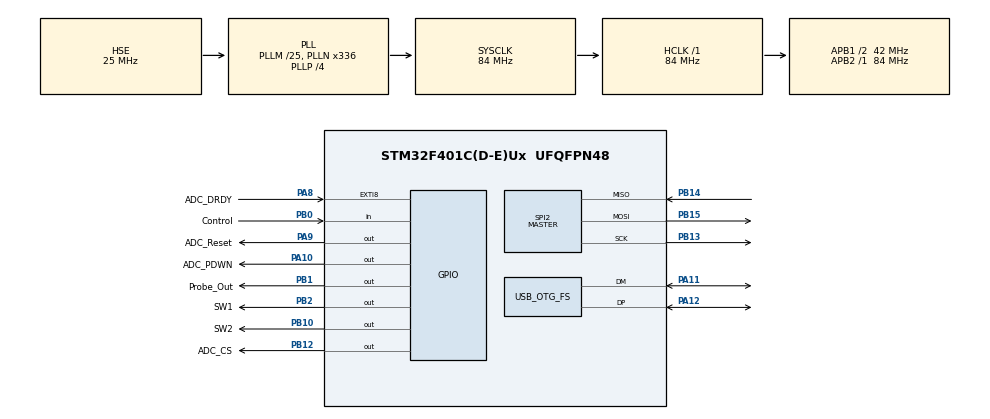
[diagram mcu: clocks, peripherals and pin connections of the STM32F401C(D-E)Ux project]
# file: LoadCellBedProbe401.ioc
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Dma.Request0=SPI2_RX
Dma.Request1=SPI2_TX
Dma.SPI2_RX.0.Direction=DMA_PERIPH_TO_MEMORY
Dma.SPI2_RX.0.FIFOMode=DMA_FIFOMODE_DISABLE
Dma.SPI2_RX.0.Instance=DMA1_Stream3
Dma.SPI2_RX.0.MemDataAlignment=DMA_MDATAALIGN_BYTE
Dma.SPI2_RX.0.MemInc=DMA_MINC_ENABLE
Dma.SPI2_RX.0.Mode=DMA_NORMAL
Dma.SPI2_RX.0.PeriphDataAlignment=DMA_PDATAALIGN_BYTE
Dma.SPI2_RX.0.PeriphInc=DMA_PINC_DISABLE
Dma.SPI2_RX.0.Priority=DMA_PRIORITY_HIGH
Dma.SPI2_TX.1.Direction=DMA_MEMORY_TO_PERIPH
Dma.SPI2_TX.1.FIFOMode=DMA_FIFOMODE_DISABLE
Dma.SPI2_TX.1.Instance=DMA1_Stream4
Dma.SPI2_TX.1.MemDataAlignment=DMA_MDATAALIGN_BYTE
Dma.SPI2_TX.1.MemInc=DMA_MINC_ENABLE
Dma.SPI2_TX.1.Mode=DMA_NORMAL
Dma.SPI2_TX.1.PeriphDataAlignment=DMA_PDATAALIGN_BYTE
Dma.SPI2_TX.1.PeriphInc=DMA_PINC_DISABLE
Dma.SPI2_TX.1.Priority=DMA_PRIORITY_HIGH
IWDG.Reload=2000
Mcu.Family=STM32F4
Mcu.Name=STM32F401C(D-E)Ux
Mcu.Package=UFQFPN48
NVIC.DMA1_Stream3_IRQn=true\:3\:0\:true\:false\:true\:true\:true\:true
NVIC.DMA1_Stream4_IRQn=true\:2\:0\:true\:false\:true\:true\:true\:true
NVIC.EXTI9_5_IRQn=true\:1\:0\:true\:false\:true\:true\:true\:true
NVIC.OTG_FS_IRQn=true\:10\:0\:true\:false\:true\:false\:true\:true
NVIC.PriorityGroup=NVIC_PRIORITYGROUP_4
PA10.GPIO_Label=ADC_PDWN
PA10.Signal=GPIO_Output
PA11.Mode=Device_Only
PA11.Signal=USB_OTG_FS_DM
PA12.Mode=Device_Only
PA12.Signal=USB_OTG_FS_DP
PA13.Mode=Trace_Asynchronous_SW
PA13.Signal=SYS_JTMS-SWDIO
PA14.Mode=Trace_Asynchronous_SW
PA14.Signal=SYS_JTCK-SWCLK
PA8.GPIO_Label=ADC_DRDY
PA8.GPIO_ModeDefaultEXTI=GPIO_MODE_IT_FALLING
PA8.Signal=GPXTI8
PA9.GPIO_Label=ADC_Reset
PA9.Signal=GPIO_Output
PB0.GPIO_Label=Control
PB0.GPIO_PuPd=GPIO_PULLDOWN
PB0.Signal=GPIO_Input
PB1.GPIO_Label=Probe_Out
PB1.GPIO_Speed=GPIO_SPEED_FREQ_HIGH
PB1.Signal=GPIO_Output
PB10.GPIO_Label=SW2
PB10.GPIO_Speed=GPIO_SPEED_FREQ_MEDIUM
PB10.Signal=GPIO_Output
PB12.GPIO_Label=ADC_CS
PB12.GPIO_Speed=GPIO_SPEED_FREQ_MEDIUM
PB12.PinState=GPIO_PIN_SET
PB12.Signal=GPIO_Output
PB13.Mode=Full_Duplex_Master
PB13.Signal=SPI2_SCK
PB14.Mode=Full_Duplex_Master
PB14.Signal=SPI2_MISO
PB15.Mode=Full_Duplex_Master
PB15.Signal=SPI2_MOSI
PB2.GPIO_Label=SW1
PB2.GPIO_Speed=GPIO_SPEED_FREQ_MEDIUM
PB2.PinState=GPIO_PIN_SET
PB2.Signal=GPIO_Output
PB3.Mode=Trace_Asynchronous_SW
PB3.Signal=SYS_JTDO-SWO
PC14-OSC32_IN.Mode=LSE-External-Oscillator
PC14-OSC32_IN.Signal=RCC_OSC32_IN
PC15-OSC32_OUT.Mode=LSE-External-Oscillator
PC15-OSC32_OUT.Signal=RCC_OSC32_OUT
PH0\ -\ OSC_IN.Mode=HSE-External-Oscillator
PH0\ -\ OSC_IN.Signal=RCC_OSC_IN
PH1\ -\ OSC_OUT.Mode=HSE-External-Oscillator
PH1\ -\ OSC_OUT.Signal=RCC_OSC_OUT
ProjectManager.HeapSize=0x800
ProjectManager.StackSize=0x400
ProjectManager.TargetToolchain=STM32CubeIDE
RCC.48MHZClocksFreq_Value=48000000
RCC.AHBFreq_Value=84000000
RCC.APB1CLKDivider=RCC_HCLK_DIV2
RCC.APB1Freq_Value=42000000
RCC.APB1TimFreq_Value=84000000
RCC.APB2Freq_Value=84000000
RCC.APB2TimFreq_Value=84000000
RCC.CortexFreq_Value=84000000
RCC.HCLKFreq_Value=84000000
RCC.HSE_VALUE=25000000
RCC.HSI_VALUE=16000000
RCC.PLLM=25
RCC.PLLN=336
RCC.PLLP=RCC_PLLP_DIV4
RCC.PLLQ=7
RCC.RCC_RTC_Clock_Source=RCC_RTCCLKSOURCE_LSE
RCC.RCC_RTC_Clock_SourceVirtual=RCC_RTCCLKSOURCE_LSE
RCC.SYSCLKFreq_VALUE=84000000
RCC.SYSCLKSource=RCC_SYSCLKSOURCE_PLLCLK
RCC.VCOOutputFreq_Value=336000000
SPI2.BaudRatePrescaler=SPI_BAUDRATEPRESCALER_32
SPI2.CLKPhase=SPI_PHASE_2EDGE
SPI2.Direction=SPI_DIRECTION_2LINES
SPI2.Mode=SPI_MODE_MASTER
SPI2.VirtualType=VM_MASTER
TIM2.ClockDivision=TIM_CLOCKDIVISION_DIV4
TIM2.Prescaler=21000
TIM3.ClockDivision=TIM_CLOCKDIVISION_DIV4
TIM3.Prescaler=21
USB_DEVICE.CLASS_NAME_FS=CDC
USB_DEVICE.VirtualMode-CDC_FS=Cdc
USB_DEVICE.VirtualModeFS=Cdc_FS
USB_OTG_FS.VirtualMode=Device_Only
VP_IWDG_VS_IWDG.Mode=IWDG_Activate
VP_RTC_VS_RTC_Activate.Mode=RTC_Enabled
VP_TIM2_VS_ClockSourceINT.Mode=Internal
VP_TIM3_VS_ClockSourceINT.Mode=Internal
VP_USB_DEVICE_VS_USB_DEVICE_CDC_FS.Mode=CDC_FS
board=custom

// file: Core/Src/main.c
/* USER CODE BEGIN Header */
/**
  ******************************************************************************
  * @file           : main.c
  * @brief          : Main program body
  ******************************************************************************
  * @attention
  *
  * Copyright (c) 2023 STMicroelectronics.
  * All rights reserved.
  *
  * This software is licensed under terms that can be found in the LICENSE file
  * in the root directory of this software component.
  * If no LICENSE file comes with this software, it is provided AS-IS.
  *
  ******************************************************************************
  */
/* USER CODE END Header */
#include "main.h"
#include "usb_device.h"

/* USER CODE BEGIN Includes */
#include "arm_math.h"
#include "usbd_cdc_if.h"
/* USER CODE END Includes */

/* USER CODE BEGIN PV */
arm_biquad_cascade_df2T_instance_f32 * iir_inst = {0};

uint8_t SpiDmaRxBuf[8];
uint8_t SpiDmaTxBuf[8];
const uint8_t emptybuf[4]= { 0, 0, 0, 0 };

const char __attribute__ ((aligned(4))) watchdog_message[] =
		"*********************\n"
		"Watchdog Reset!!!!!!!\n"
		"Watchdog Reset!!!!!!!\n"
		"Watchdog Reset!!!!!!!\n"
		"*********************\n";

static const char ThisFileName[] = "main.c";
/* USER CODE END PV */

void SystemClock_Config(void);
static void MX_GPIO_Init(void);
static void MX_DMA_Init(void);
static void MX_IWDG_Init(void);
static void MX_SPI2_Init(void);
static void MX_TIM2_Init(void);
static void MX_RTC_Init(void);
static void MX_TIM3_Init(void);

int main(void)
{
  /* USER CODE BEGIN 1 */

	float32_t iir_coeffs[5 * IIR_NUMSTAGES] = IIR_COEFFS;
	float32_t iir_state[4 * IIR_NUMSTAGES];

	//uint8_t MA_buffer_sent = 1;
	LC_ModeTypeDef lc_mode = LC_IDLE;
	uint8_t DummyBuffer[8];

  /* USER CODE END 1 */

  /* MCU Configuration--------------------------------------------------------*/

  /* Reset of all peripherals, Initializes the Flash interface and the Systick. */
  HAL_Init();

  /* Configure the system clock */
  SystemClock_Config();

  /* USER CODE BEGIN SysInit */

   // Configure both watchdog timers to be halted if the CPU is halted by the debugger
   //
   //*((volatile int *)(0xE0042008)) |= (1 << 11) | (1 << 12);
   __HAL_DBGMCU_FREEZE_IWDG();

  /* USER CODE END SysInit */

  /* Initialize all configured peripherals */
  MX_GPIO_Init();
  MX_DMA_Init();
  MX_IWDG_Init();
  MX_SPI2_Init();
  MX_TIM2_Init();
  MX_RTC_Init();
  MX_TIM3_Init();
  MX_USB_DEVICE_Init();
  /* USER CODE BEGIN 2 */

  //check for IWDG flag:
  if (__HAL_RCC_GET_FLAG(RCC_FLAG_IWDGRST)){
	  CDC_Transmit_FS((uint8_t *)watchdog_message, sizeof(watchdog_message));
	  __HAL_RCC_CLEAR_RESET_FLAGS();
  }

  	// set ADC SPI CS
	LL_GPIO_SetOutputPin(ADC_CS_GPIO_Port, ADC_CS_Pin);
	// Set probe output
	LL_GPIO_SetOutputPin(Probe_Out_GPIO_Port, Probe_Out_Pin);

	//SW GPIOs
	LL_GPIO_ResetOutputPin(SW1_GPIO_Port, SW1_Pin);
	LL_GPIO_ResetOutputPin(SW2_GPIO_Port, SW2_Pin);

	/* Configure SPI1 DMA transfer interrupts */
	/* Enable DMA RX Interrupt */
	LL_SPI_EnableDMAReq_RX(SPI2);
	/* Enable DMA TX Interrupt */
	LL_SPI_EnableDMAReq_TX(SPI2);

	LL_DMA_ConfigAddresses(DMA1, LL_DMA_STREAM_3, LL_SPI_DMA_GetRegAddr(SPI2),
						  (uint32_t)SpiDmaRxBuf, LL_DMA_GetDataTransferDirection(DMA1, LL_DMA_STREAM_3)); //RX
	LL_DMA_ConfigAddresses(DMA1, LL_DMA_STREAM_4, (uint32_t)SpiDmaTxBuf,
						  LL_SPI_DMA_GetRegAddr(SPI2), LL_DMA_GetDataTransferDirection(DMA1, LL_DMA_STREAM_4));  //TX

	LL_DMA_SetDataLength(DMA1, LL_DMA_STREAM_3, 3);
	LL_DMA_SetDataLength(DMA1, LL_DMA_STREAM_4, 3);

	/* (5) Enable DMA interrupts complete/error */
	LL_DMA_EnableIT_TC(DMA1, LL_DMA_STREAM_3);
	LL_DMA_EnableIT_TE(DMA1, LL_DMA_STREAM_3);
	LL_DMA_EnableIT_TC(DMA1, LL_DMA_STREAM_4);
	LL_DMA_EnableIT_TE(DMA1, LL_DMA_STREAM_4);

	//HAL_TIM_Base_Start(&htim2);
	//HAL_TIM_Base_Start(&htim3);

	LL_TIM_EnableCounter(TIM2);
	LL_TIM_EnableCounter(TIM3);

	arm_biquad_cascade_df2T_init_f32(iir_inst, (uint8_t)IIR_NUMSTAGES, iir_coeffs, iir_state);

	//__HAL_TIM_SET_COUNTER(&htim2,0);
	LL_TIM_SetCounter(TIM2, 0);

	//Disable DMA and EXTI IRqs for idle mode
	NVIC_DisableIRQ(DMA1_Stream3_IRQn);
	NVIC_DisableIRQ(DMA1_Stream4_IRQn);
	NVIC_DisableIRQ(EXTI15_10_IRQn);

	void lc_send_greeting(void);

	LL_IWDG_ReloadCounter(IWDG);

	if (ads1256_init() != ADS1256_OK) {
		lc_Error_Handler( ThisFileName, sizeof(ThisFileName), __LINE__);
	}

  /* USER CODE END 2 */

  /* Infinite loop */
  /* USER CODE BEGIN WHILE */
  while (1)
  {
	  LL_IWDG_ReloadCounter(IWDG);

	  switch( lc_mode ){
	  case LC_IDLE:
		  if ( LL_GPIO_IsInputPinSet(Control_GPIO_Port, Control_Pin) ) {
			  lc_mode = LC_PREPARE;
			  break;
		  }
		  // Time to run the idle task?
		  if ( (LL_TIM_GetCounter(TIM2)) > LC_IDLE_PERIOD ) {
			  LL_TIM_SetCounter(TIM2, 0);
			  lc_do_lc_idle();
		  }
		  CDC_Transmit_FS(DummyBuffer, 0);
		  break;
	  case LC_PREPARE:
		  lc_do_lc_prepare();
		  CDC_Transmit_FS(DummyBuffer, 0);
		  break;
	  case LC_RUNNING:
		  lc_do_lc_running();
		  CDC_Transmit_FS(DummyBuffer, 0);
		  if ( !LL_GPIO_IsInputPinSet(Control_GPIO_Port, Control_Pin) ) {
					  lc_mode = LC_STOPPING;
		  }
		  break;
	  case LC_STOPPING:
		  lc_do_lc_stopping();
		  CDC_Transmit_FS(DummyBuffer, 0);
		  lc_mode = LC_IDLE;
		  break;
	  default:
		  lc_Error_Handler( ThisFileName, sizeof(ThisFileName), __LINE__);
	  }
    /* USER CODE END WHILE */

  }
}

void SystemClock_Config(void)
{
  RCC_OscInitTypeDef RCC_OscInitStruct = {0};
  RCC_ClkInitTypeDef RCC_ClkInitStruct = {0};

  /** Configure the main internal regulator output voltage
  */
  __HAL_RCC_PWR_CLK_ENABLE();
  __HAL_PWR_VOLTAGESCALING_CONFIG(PWR_REGULATOR_VOLTAGE_SCALE2);

  /** Initializes the RCC Oscillators according to the specified parameters
  * in the RCC_OscInitTypeDef structure.
  */
  RCC_OscInitStruct.OscillatorType = RCC_OSCILLATORTYPE_LSI|RCC_OSCILLATORTYPE_HSE
                              |RCC_OSCILLATORTYPE_LSE;
  RCC_OscInitStruct.HSEState = RCC_HSE_ON;
  RCC_OscInitStruct.LSEState = RCC_LSE_ON;
  RCC_OscInitStruct.LSIState = RCC_LSI_ON;
  RCC_OscInitStruct.PLL.PLLState = RCC_PLL_ON;
  RCC_OscInitStruct.PLL.PLLSource = RCC_PLLSOURCE_HSE;
  RCC_OscInitStruct.PLL.PLLM = 25;
  RCC_OscInitStruct.PLL.PLLN = 336;
  RCC_OscInitStruct.PLL.PLLP = RCC_PLLP_DIV4;
  RCC_OscInitStruct.PLL.PLLQ = 7;
  if (HAL_RCC_OscConfig(&RCC_OscInitStruct) != HAL_OK)
  {
    Error_Handler();
  }

  /** Initializes the CPU, AHB and APB buses clocks
  */
  RCC_ClkInitStruct.ClockType = RCC_CLOCKTYPE_HCLK|RCC_CLOCKTYPE_SYSCLK
                              |RCC_CLOCKTYPE_PCLK1|RCC_CLOCKTYPE_PCLK2;
  RCC_ClkInitStruct.SYSCLKSource = RCC_SYSCLKSOURCE_PLLCLK;
  RCC_ClkInitStruct.AHBCLKDivider = RCC_SYSCLK_DIV1;
  RCC_ClkInitStruct.APB1CLKDivider = RCC_HCLK_DIV2;
  RCC_ClkInitStruct.APB2CLKDivider = RCC_HCLK_DIV1;

  if (HAL_RCC_ClockConfig(&RCC_ClkInitStruct, FLASH_LATENCY_2) != HAL_OK)
  {
    Error_Handler();
  }
}

static void MX_IWDG_Init(void)
{

  LL_IWDG_Enable(IWDG);
  LL_IWDG_EnableWriteAccess(IWDG);
  LL_IWDG_SetPrescaler(IWDG, LL_IWDG_PRESCALER_4);
  LL_IWDG_SetReloadCounter(IWDG, 2000);
  while (LL_IWDG_IsReady(IWDG) != 1)
  {
  }

  LL_IWDG_ReloadCounter(IWDG);

}

static void MX_RTC_Init(void)
{

  LL_RTC_InitTypeDef RTC_InitStruct = {0};

  RCC_PeriphCLKInitTypeDef PeriphClkInitStruct = {0};

  /** Initializes the peripherals clock
  */
  PeriphClkInitStruct.PeriphClockSelection = RCC_PERIPHCLK_RTC;
  PeriphClkInitStruct.RTCClockSelection = RCC_RTCCLKSOURCE_LSE;
  if (HAL_RCCEx_PeriphCLKConfig(&PeriphClkInitStruct) != HAL_OK)
  {
    Error_Handler();
  }

  /* Peripheral clock enable */
  LL_RCC_EnableRTC();

  /** Initialize RTC and set the Time and Date
  */
  RTC_InitStruct.HourFormat = LL_RTC_HOURFORMAT_24HOUR;
  RTC_InitStruct.AsynchPrescaler = 127;
  RTC_InitStruct.SynchPrescaler = 255;
  LL_RTC_Init(RTC, &RTC_InitStruct);
  LL_RTC_SetAsynchPrescaler(RTC, 127);
  LL_RTC_SetSynchPrescaler(RTC, 255);

}

static void MX_SPI2_Init(void)
{

  LL_SPI_InitTypeDef SPI_InitStruct = {0};

  LL_GPIO_InitTypeDef GPIO_InitStruct = {0};

  /* Peripheral clock enable */
  LL_APB1_GRP1_EnableClock(LL_APB1_GRP1_PERIPH_SPI2);

  LL_AHB1_GRP1_EnableClock(LL_AHB1_GRP1_PERIPH_GPIOB);
  /**SPI2 GPIO Configuration
  PB13   ------> SPI2_SCK
  PB14   ------> SPI2_MISO
  PB15   ------> SPI2_MOSI
  */
  GPIO_InitStruct.Pin = LL_GPIO_PIN_13|LL_GPIO_PIN_14|LL_GPIO_PIN_15;
  GPIO_InitStruct.Mode = LL_GPIO_MODE_ALTERNATE;
  GPIO_InitStruct.Speed = LL_GPIO_SPEED_FREQ_VERY_HIGH;
  GPIO_InitStruct.OutputType = LL_GPIO_OUTPUT_PUSHPULL;
  GPIO_InitStruct.Pull = LL_GPIO_PULL_NO;
  GPIO_InitStruct.Alternate = LL_GPIO_AF_5;
  LL_GPIO_Init(GPIOB, &GPIO_InitStruct);

  /* SPI2 DMA Init */

  /* SPI2_RX Init */
  LL_DMA_SetChannelSelection(DMA1, LL_DMA_STREAM_3, LL_DMA_CHANNEL_0);

  LL_DMA_SetDataTransferDirection(DMA1, LL_DMA_STREAM_3, LL_DMA_DIRECTION_PERIPH_TO_MEMORY);

  LL_DMA_SetStreamPriorityLevel(DMA1, LL_DMA_STREAM_3, LL_DMA_PRIORITY_HIGH);

  LL_DMA_SetMode(DMA1, LL_DMA_STREAM_3, LL_DMA_MODE_NORMAL);

  LL_DMA_SetPeriphIncMode(DMA1, LL_DMA_STREAM_3, LL_DMA_PERIPH_NOINCREMENT);

  LL_DMA_SetMemoryIncMode(DMA1, LL_DMA_STREAM_3, LL_DMA_MEMORY_INCREMENT);

  LL_DMA_SetPeriphSize(DMA1, LL_DMA_STREAM_3, LL_DMA_PDATAALIGN_BYTE);

  LL_DMA_SetMemorySize(DMA1, LL_DMA_STREAM_3, LL_DMA_MDATAALIGN_BYTE);

  LL_DMA_DisableFifoMode(DMA1, LL_DMA_STREAM_3);

  /* SPI2_TX Init */
  LL_DMA_SetChannelSelection(DMA1, LL_DMA_STREAM_4, LL_DMA_CHANNEL_0);

  LL_DMA_SetDataTransferDirection(DMA1, LL_DMA_STREAM_4, LL_DMA_DIRECTION_MEMORY_TO_PERIPH);

  LL_DMA_SetStreamPriorityLevel(DMA1, LL_DMA_STREAM_4, LL_DMA_PRIORITY_HIGH);

  LL_DMA_SetMode(DMA1, LL_DMA_STREAM_4, LL_DMA_MODE_NORMAL);

  LL_DMA_SetPeriphIncMode(DMA1, LL_DMA_STREAM_4, LL_DMA_PERIPH_NOINCREMENT);

  LL_DMA_SetMemoryIncMode(DMA1, LL_DMA_STREAM_4, LL_DMA_MEMORY_INCREMENT);

  LL_DMA_SetPeriphSize(DMA1, LL_DMA_STREAM_4, LL_DMA_PDATAALIGN_BYTE);

  LL_DMA_SetMemorySize(DMA1, LL_DMA_STREAM_4, LL_DMA_MDATAALIGN_BYTE);

  LL_DMA_DisableFifoMode(DMA1, LL_DMA_STREAM_4);

  /* SPI2 parameter configuration*/
  SPI_InitStruct.TransferDirection = LL_SPI_FULL_DUPLEX;
  SPI_InitStruct.Mode = LL_SPI_MODE_MASTER;
  SPI_InitStruct.DataWidth = LL_SPI_DATAWIDTH_8BIT;
  SPI_InitStruct.ClockPolarity = LL_SPI_POLARITY_LOW;
  SPI_InitStruct.ClockPhase = LL_SPI_PHASE_2EDGE;
  SPI_InitStruct.NSS = LL_SPI_NSS_SOFT;
  SPI_InitStruct.BaudRate = LL_SPI_BAUDRATEPRESCALER_DIV32;
  SPI_InitStruct.BitOrder = LL_SPI_MSB_FIRST;
  SPI_InitStruct.CRCCalculation = LL_SPI_CRCCALCULATION_DISABLE;
  SPI_InitStruct.CRCPoly = 10;
  LL_SPI_Init(SPI2, &SPI_InitStruct);
  LL_SPI_SetStandard(SPI2, LL_SPI_PROTOCOL_MOTOROLA);

}

static void MX_TIM2_Init(void)
{

  LL_TIM_InitTypeDef TIM_InitStruct = {0};

  /* Peripheral clock enable */
  LL_APB1_GRP1_EnableClock(LL_APB1_GRP1_PERIPH_TIM2);

  TIM_InitStruct.Prescaler = 21000;
  TIM_InitStruct.CounterMode = LL_TIM_COUNTERMODE_UP;
  TIM_InitStruct.Autoreload = 4294967295;
  TIM_InitStruct.ClockDivision = LL_TIM_CLOCKDIVISION_DIV4;
  LL_TIM_Init(TIM2, &TIM_InitStruct);
  LL_TIM_DisableARRPreload(TIM2);
  LL_TIM_SetClockSource(TIM2, LL_TIM_CLOCKSOURCE_INTERNAL);
  LL_TIM_SetTriggerOutput(TIM2, LL_TIM_TRGO_RESET);
  LL_TIM_DisableMasterSlaveMode(TIM2);

}

static void MX_TIM3_Init(void)
{

  LL_TIM_InitTypeDef TIM_InitStruct = {0};

  /* Peripheral clock enable */
  LL_APB1_GRP1_EnableClock(LL_APB1_GRP1_PERIPH_TIM3);

  TIM_InitStruct.Prescaler = 21;
  TIM_InitStruct.CounterMode = LL_TIM_COUNTERMODE_UP;
  TIM_InitStruct.Autoreload = 65535;
  TIM_InitStruct.ClockDivision = LL_TIM_CLOCKDIVISION_DIV4;
  LL_TIM_Init(TIM3, &TIM_InitStruct);
  LL_TIM_DisableARRPreload(TIM3);
  LL_TIM_SetClockSource(TIM3, LL_TIM_CLOCKSOURCE_INTERNAL);
  LL_TIM_SetTriggerOutput(TIM3, LL_TIM_TRGO_RESET);
  LL_TIM_DisableMasterSlaveMode(TIM3);

}

static void MX_DMA_Init(void)
{

  /* Init with LL driver */
  /* DMA controller clock enable */
  LL_AHB1_GRP1_EnableClock(LL_AHB1_GRP1_PERIPH_DMA1);

  /* DMA interrupt init */
  /* DMA1_Stream3_IRQn interrupt configuration */
  NVIC_SetPriority(DMA1_Stream3_IRQn, NVIC_EncodePriority(NVIC_GetPriorityGrouping(),3, 0));
  NVIC_EnableIRQ(DMA1_Stream3_IRQn);
  /* DMA1_Stream4_IRQn interrupt configuration */
  NVIC_SetPriority(DMA1_Stream4_IRQn, NVIC_EncodePriority(NVIC_GetPriorityGrouping(),2, 0));
  NVIC_EnableIRQ(DMA1_Stream4_IRQn);

}

static void MX_GPIO_Init(void)
{
  LL_EXTI_InitTypeDef EXTI_InitStruct = {0};
  LL_GPIO_InitTypeDef GPIO_InitStruct = {0};

  /* GPIO Ports Clock Enable */
  LL_AHB1_GRP1_EnableClock(LL_AHB1_GRP1_PERIPH_GPIOC);
  LL_AHB1_GRP1_EnableClock(LL_AHB1_GRP1_PERIPH_GPIOH);
  LL_AHB1_GRP1_EnableClock(LL_AHB1_GRP1_PERIPH_GPIOB);
  LL_AHB1_GRP1_EnableClock(LL_AHB1_GRP1_PERIPH_GPIOA);

  /**/
  LL_GPIO_ResetOutputPin(GPIOB, Probe_Out_Pin|SW2_Pin);

  /**/
  LL_GPIO_ResetOutputPin(GPIOA, ADC_Reset_Pin|ADC_PDWN_Pin);

  /**/
  LL_GPIO_SetOutputPin(GPIOB, SW1_Pin|ADC_CS_Pin);

  /**/
  GPIO_InitStruct.Pin = Control_Pin;
  GPIO_InitStruct.Mode = LL_GPIO_MODE_INPUT;
  GPIO_InitStruct.Pull = LL_GPIO_PULL_DOWN;
  LL_GPIO_Init(Control_GPIO_Port, &GPIO_InitStruct);

  /**/
  GPIO_InitStruct.Pin = Probe_Out_Pin;
  GPIO_InitStruct.Mode = LL_GPIO_MODE_OUTPUT;
  GPIO_InitStruct.Speed = LL_GPIO_SPEED_FREQ_HIGH;
  GPIO_InitStruct.OutputType = LL_GPIO_OUTPUT_PUSHPULL;
  GPIO_InitStruct.Pull = LL_GPIO_PULL_NO;
  LL_GPIO_Init(Probe_Out_GPIO_Port, &GPIO_InitStruct);

  /**/
  GPIO_InitStruct.Pin = SW1_Pin|SW2_Pin|ADC_CS_Pin;
  GPIO_InitStruct.Mode = LL_GPIO_MODE_OUTPUT;
  GPIO_InitStruct.Speed = LL_GPIO_SPEED_FREQ_MEDIUM;
  GPIO_InitStruct.OutputType = LL_GPIO_OUTPUT_PUSHPULL;
  GPIO_InitStruct.Pull = LL_GPIO_PULL_NO;
  LL_GPIO_Init(GPIOB, &GPIO_InitStruct);

  /**/
  GPIO_InitStruct.Pin = ADC_Reset_Pin|ADC_PDWN_Pin;
  GPIO_InitStruct.Mode = LL_GPIO_MODE_OUTPUT;
  GPIO_InitStruct.Speed = LL_GPIO_SPEED_FREQ_LOW;
  GPIO_InitStruct.OutputType = LL_GPIO_OUTPUT_PUSHPULL;
  GPIO_InitStruct.Pull = LL_GPIO_PULL_NO;
  LL_GPIO_Init(GPIOA, &GPIO_InitStruct);

  /**/
  LL_SYSCFG_SetEXTISource(LL_SYSCFG_EXTI_PORTA, LL_SYSCFG_EXTI_LINE8);

  /**/
  EXTI_InitStruct.Line_0_31 = LL_EXTI_LINE_8;
  EXTI_InitStruct.LineCommand = ENABLE;
  EXTI_InitStruct.Mode = LL_EXTI_MODE_IT;
  EXTI_InitStruct.Trigger = LL_EXTI_TRIGGER_FALLING;
  LL_EXTI_Init(&EXTI_InitStruct);

  /**/
  LL_GPIO_SetPinPull(ADC_DRDY_GPIO_Port, ADC_DRDY_Pin, LL_GPIO_PULL_NO);

  /**/
  LL_GPIO_SetPinMode(ADC_DRDY_GPIO_Port, ADC_DRDY_Pin, LL_GPIO_MODE_INPUT);

  /* EXTI interrupt init*/
  NVIC_SetPriority(EXTI9_5_IRQn, NVIC_EncodePriority(NVIC_GetPriorityGrouping(),1, 0));
  NVIC_EnableIRQ(EXTI9_5_IRQn);

}

void Error_Handler(void)
{
  __disable_irq();
  while (1)
  {
  }
}
